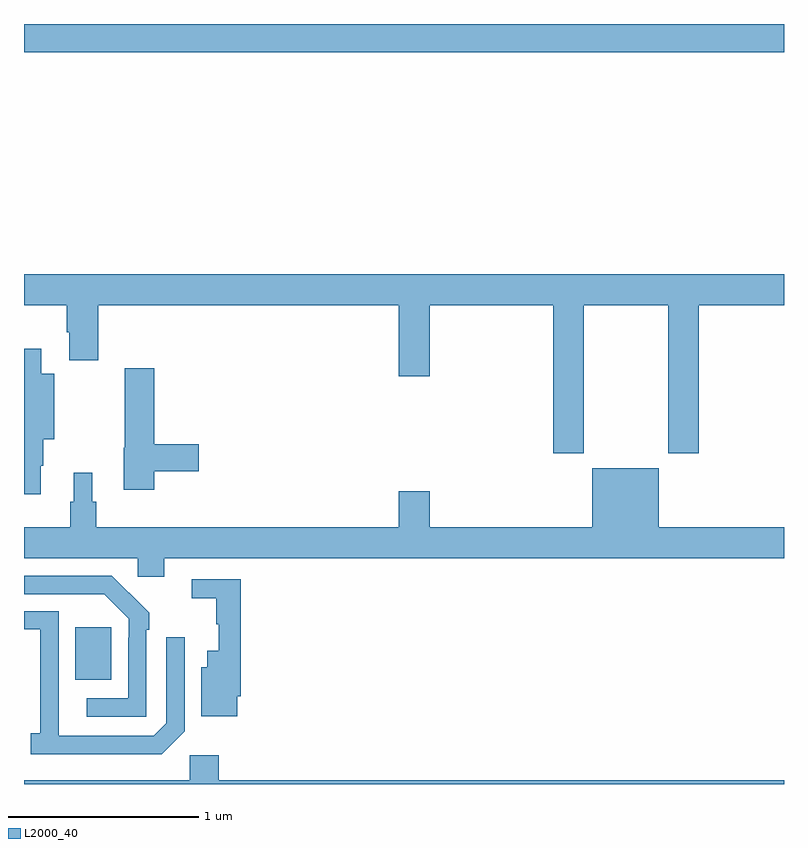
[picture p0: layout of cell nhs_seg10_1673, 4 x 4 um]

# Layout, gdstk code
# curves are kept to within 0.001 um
import gdstk
lib = gdstk.Library(unit=1e-6, precision=1e-09)
def R(c, l, rs):  # rectangles x0, y0, x1, y1
    for r in rs: c.add(gdstk.rectangle(r[:2], r[2:], *l))
def P(c, l, *ps):  # polygons
    for p in ps: c.add(gdstk.Polygon(p, *l))
L2000_40 = (2000, 40)

nhs_seg10_1673 = lib.new_cell('nhs_seg10_1673')
R(nhs_seg10_1673, L2000_40, [(199.271,1261.049,199.459,1261.324), (199,1264.352,203,1264.5)])
P(nhs_seg10_1673, L2000_40, [(201.945,1263.02),(202.39,1263.02),(202.39,1262.241),(202.55,1262.241),(202.55,1263.02),(203,1263.02),(203,1263.184),(199,1263.184),(199,1263.02),(199.226,1263.02),(199.226,1262.878),(199.238,1262.878),(199.238,1262.73),(199.391,1262.73),(199.391,1263.02),(200.972,1263.02),(200.972,1262.646),(201.136,1262.646),(201.136,1263.02),(201.785,1263.02),(201.785,1262.241),(201.945,1262.241)],
  [(199.089,1262.174),(199.102,1262.174),(199.102,1262.315),(199.158,1262.315),(199.158,1262.659),(199.09,1262.659),(199.09,1262.791),(199,1262.791),(199,1262.024),(199.089,1262.024)],
  [(199.685,1262.146),(199.921,1262.146),(199.921,1262.288),(199.685,1262.288),(199.685,1262.689),(199.531,1262.689),(199.531,1262.271),(199.525,1262.271),(199.525,1262.048),(199.685,1262.048)],
  [(199.738,1261.688),(203,1261.688),(203,1261.852),(202.342,1261.852),(202.342,1262.161),(201.992,1262.161),(201.992,1261.852),(201.136,1261.852),(201.136,1262.041),(200.972,1262.041),(200.972,1261.852),(199.379,1261.852),(199.379,1261.986),(199.36,1261.986),(199.36,1262.137),(199.262,1262.137),(199.262,1261.986),(199.243,1261.986),(199.243,1261.852),(199,1261.852),(199,1261.688),(199.599,1261.688),(199.599,1261.59),(199.738,1261.59)],
  [(199.644,1261.313),(199.659,1261.313),(199.659,1261.401),(199.462,1261.596),(199,1261.596),(199,1261.5),(199.423,1261.5),(199.551,1261.371),(199.551,1261.271),(199.548,1261.271),(199.548,1260.951),(199.329,1260.951),(199.329,1260.855),(199.644,1260.855)],
  [(200.122,1260.961),(200.141,1260.961),(200.141,1261.578),(199.884,1261.578),(199.884,1261.477),(200.013,1261.477),(200.013,1261.341),(200.024,1261.341),(200.024,1261.201),(199.964,1261.201),(199.964,1261.114),(199.934,1261.114),(199.934,1260.857),(200.122,1260.857)],
  [(199.845,1260.777),(199.845,1261.273),(199.749,1261.273),(199.749,1260.819),(199.683,1260.753),(199.183,1260.753),(199.182,1261.41),(199,1261.41),(199,1261.314),(199.086,1261.314),(199.086,1260.766),(199.035,1260.766),(199.035,1260.656),(199.724,1260.656)],
  [(203,1260.52),(200.024,1260.52),(200.024,1260.652),(199.872,1260.652),(199.872,1260.52),(199,1260.52),(199,1260.5),(203,1260.5)])

lib.write_gds('nhs_seg10_1673.gds')
